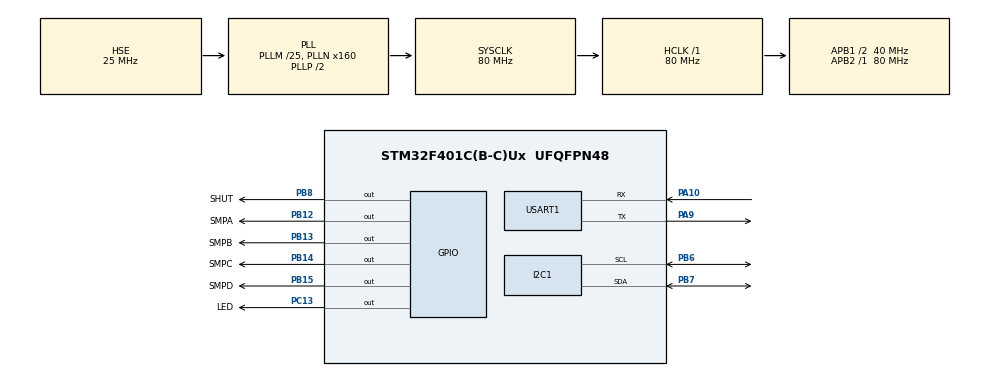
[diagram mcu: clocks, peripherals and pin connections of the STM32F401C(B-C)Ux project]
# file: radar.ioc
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Mcu.Family=STM32F4
Mcu.Name=STM32F401C(B-C)Ux
Mcu.Package=UFQFPN48
NVIC.PriorityGroup=NVIC_PRIORITYGROUP_4
NVIC.TIM1_TRG_COM_TIM11_IRQn=true\:15\:0\:true\:false\:true\:true\:true\:true
NVIC.TIM1_UP_TIM10_IRQn=true\:15\:0\:true\:false\:true\:true\:true\:true
PA10.Mode=Asynchronous
PA10.Signal=USART1_RX
PA13.Mode=Serial_Wire
PA13.Signal=SYS_JTMS-SWDIO
PA14.Mode=Serial_Wire
PA14.Signal=SYS_JTCK-SWCLK
PA9.Mode=Asynchronous
PA9.Signal=USART1_TX
PB12.GPIO_Label=SMPA
PB12.GPIO_Speed=GPIO_SPEED_FREQ_HIGH
PB12.Signal=GPIO_Output
PB13.GPIO_Label=SMPB
PB13.GPIO_Speed=GPIO_SPEED_FREQ_HIGH
PB13.Signal=GPIO_Output
PB14.GPIO_Label=SMPC
PB14.GPIO_Speed=GPIO_SPEED_FREQ_HIGH
PB14.Signal=GPIO_Output
PB15.GPIO_Label=SMPD
PB15.GPIO_Speed=GPIO_SPEED_FREQ_HIGH
PB15.Signal=GPIO_Output
PB6.GPIO_Pu=GPIO_PULLUP
PB6.Mode=I2C
PB6.Signal=I2C1_SCL
PB7.GPIO_Pu=GPIO_PULLUP
PB7.Mode=I2C
PB7.Signal=I2C1_SDA
PB8.GPIO_Label=SHUT
PB8.GPIO_ModeDefaultOutputPP=GPIO_MODE_OUTPUT_OD
PB8.GPIO_PuPd=GPIO_NOPULL
PB8.Signal=GPIO_Output
PC13-ANTI_TAMP.GPIO_Label=LED
PC13-ANTI_TAMP.Signal=GPIO_Output
PC14-OSC32_IN.Mode=LSE-External-Oscillator
PC14-OSC32_IN.Signal=RCC_OSC32_IN
PC15-OSC32_OUT.Mode=LSE-External-Oscillator
PC15-OSC32_OUT.Signal=RCC_OSC32_OUT
PH0\ -\ OSC_IN.Mode=HSE-External-Oscillator
PH0\ -\ OSC_IN.Signal=RCC_OSC_IN
PH1\ -\ OSC_OUT.Mode=HSE-External-Oscillator
PH1\ -\ OSC_OUT.Signal=RCC_OSC_OUT
ProjectManager.HeapSize=0x200
ProjectManager.StackSize=0x400
ProjectManager.TargetToolchain=STM32CubeIDE
RCC.48MHZClocksFreq_Value=40000000
RCC.AHBFreq_Value=80000000
RCC.APB1CLKDivider=RCC_HCLK_DIV2
RCC.APB1Freq_Value=40000000
RCC.APB1TimFreq_Value=80000000
RCC.APB2Freq_Value=80000000
RCC.APB2TimFreq_Value=80000000
RCC.CortexFreq_Value=80000000
RCC.HCLKFreq_Value=80000000
RCC.HSE_VALUE=25000000
RCC.HSI_VALUE=16000000
RCC.PLLM=25
RCC.PLLN=160
RCC.PLLSourceVirtual=RCC_PLLSOURCE_HSE
RCC.SYSCLKFreq_VALUE=80000000
RCC.SYSCLKSource=RCC_SYSCLKSOURCE_PLLCLK
RCC.VCOOutputFreq_Value=160000000
TIM10.AutoReloadPreload=TIM_AUTORELOAD_PRELOAD_ENABLE
TIM10.ClockDivision=TIM_CLOCKDIVISION_DIV2
TIM10.Period=3
TIM10.Prescaler=19999
TIM11.AutoReloadPreload=TIM_AUTORELOAD_PRELOAD_ENABLE
TIM11.ClockDivision=TIM_CLOCKDIVISION_DIV4
TIM11.Period=1999
TIM11.Prescaler=19999
USART1.VirtualMode=VM_ASYNC
VP_TIM10_VS_ClockSourceINT.Mode=Enable_Timer
VP_TIM11_VS_ClockSourceINT.Mode=Enable_Timer
board=custom

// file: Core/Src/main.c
/* USER CODE BEGIN Header */
/**
  ******************************************************************************
  * @file           : main.c
  * @brief          : Main program body
  ******************************************************************************
  * @attention
  *
  * Copyright (c) 2024 STMicroelectronics.
  * All rights reserved.
  *
  * This software is licensed under terms that can be found in the LICENSE file
  * in the root directory of this software component.
  * If no LICENSE file comes with this software, it is provided AS-IS.
  *
  ******************************************************************************
  */
/* USER CODE END Header */
#include "main.h"
#include "i2c.h"
#include "tim.h"
#include "usart.h"
#include "gpio.h"

/* USER CODE BEGIN Includes */
#include <stdio.h>
#include "elog.h"
#include "cm_backtrace.h"
/* USER CODE END Includes */

/* USER CODE BEGIN PD */
#define DEFAULT_DELAY 300

/* USER CODE END PD */

/* USER CODE BEGIN PM */
#ifdef	__GNUC__
	#define PUTCHAR_PROTOTYPE int __io_putchar(int ch)
#else
	#define PUTCHAR_PROTOTYPE int fputc(int ch, FILE *f)
#endif /** __GNUC__ */

#define HAND_OFF(_f)  do {  \
      extern void _f(void);  \
      _f();  \
}while(0)

/* USER CODE END PM */

void SystemClock_Config(void);
/* USER CODE BEGIN PFP */
PUTCHAR_PROTOTYPE
{
	HAL_UART_Transmit(&huart1, (uint8_t *)&ch, 1, 0xFFFF);
	return ch;
}
/* USER CODE END PFP */

int main(void)
{

  /* MCU Configuration--------------------------------------------------------*/

  /* Reset of all peripherals, Initializes the Flash interface and the Systick. */
  HAL_Init();

  /* Configure the system clock */
  SystemClock_Config();

  /* Initialize all configured peripherals */
  MX_GPIO_Init();
  MX_USART1_UART_Init();
  MX_TIM11_Init();
  MX_I2C1_Init();
  MX_TIM10_Init();
  /* USER CODE BEGIN 2 */
  HAL_TIM_Base_Start_IT(&htim11);

  /* initlize elog */
  elog_init();
  elog_set_text_color_enabled(true);
  /* set log level */
  elog_set_fmt(ELOG_LVL_ASSERT, ELOG_FMT_ALL);
  elog_set_fmt(ELOG_LVL_ERROR, ELOG_FMT_LVL | ELOG_FMT_TAG | ELOG_FMT_TIME);
  elog_set_fmt(ELOG_LVL_WARN, ELOG_FMT_LVL | ELOG_FMT_TAG | ELOG_FMT_TIME);
  elog_set_fmt(ELOG_LVL_INFO, ELOG_FMT_LVL | ELOG_FMT_TAG | ELOG_FMT_TIME);
  elog_set_fmt(ELOG_LVL_DEBUG, ELOG_FMT_ALL & ~(ELOG_FMT_FUNC | ELOG_FMT_T_INFO | ELOG_FMT_P_INFO));
  elog_set_fmt(ELOG_LVL_VERBOSE, ELOG_FMT_ALL & ~(ELOG_FMT_FUNC | ELOG_FMT_T_INFO | ELOG_FMT_P_INFO));

  /* start elog */
  elog_start();
  /* initialize CMbacktrace */
  cm_backtrace_init(APPNAME, HARDWARE_VERSION, SOFTWARE_VERSION);
  /* USER CODE END 2 */

  /* Infinite loop */
  /* USER CODE BEGIN WHILE */
  HAND_OFF(app_main);
  log_e("Never goes here!!!\n");
    /* USER CODE END WHILE */

}

void SystemClock_Config(void)
{
  RCC_OscInitTypeDef RCC_OscInitStruct = {0};
  RCC_ClkInitTypeDef RCC_ClkInitStruct = {0};

  /** Configure the main internal regulator output voltage
  */
  __HAL_RCC_PWR_CLK_ENABLE();
  __HAL_PWR_VOLTAGESCALING_CONFIG(PWR_REGULATOR_VOLTAGE_SCALE2);

  /** Initializes the RCC Oscillators according to the specified parameters
  * in the RCC_OscInitTypeDef structure.
  */
  RCC_OscInitStruct.OscillatorType = RCC_OSCILLATORTYPE_HSE;
  RCC_OscInitStruct.HSEState = RCC_HSE_ON;
  RCC_OscInitStruct.PLL.PLLState = RCC_PLL_ON;
  RCC_OscInitStruct.PLL.PLLSource = RCC_PLLSOURCE_HSE;
  RCC_OscInitStruct.PLL.PLLM = 25;
  RCC_OscInitStruct.PLL.PLLN = 160;
  RCC_OscInitStruct.PLL.PLLP = RCC_PLLP_DIV2;
  RCC_OscInitStruct.PLL.PLLQ = 4;
  if (HAL_RCC_OscConfig(&RCC_OscInitStruct) != HAL_OK)
  {
    Error_Handler();
  }

  /** Initializes the CPU, AHB and APB buses clocks
  */
  RCC_ClkInitStruct.ClockType = RCC_CLOCKTYPE_HCLK|RCC_CLOCKTYPE_SYSCLK
                              |RCC_CLOCKTYPE_PCLK1|RCC_CLOCKTYPE_PCLK2;
  RCC_ClkInitStruct.SYSCLKSource = RCC_SYSCLKSOURCE_PLLCLK;
  RCC_ClkInitStruct.AHBCLKDivider = RCC_SYSCLK_DIV1;
  RCC_ClkInitStruct.APB1CLKDivider = RCC_HCLK_DIV2;
  RCC_ClkInitStruct.APB2CLKDivider = RCC_HCLK_DIV1;

  if (HAL_RCC_ClockConfig(&RCC_ClkInitStruct, FLASH_LATENCY_2) != HAL_OK)
  {
    Error_Handler();
  }
}

void Error_Handler(void)
{
  __disable_irq();
  while (1)
  {
  }
}
